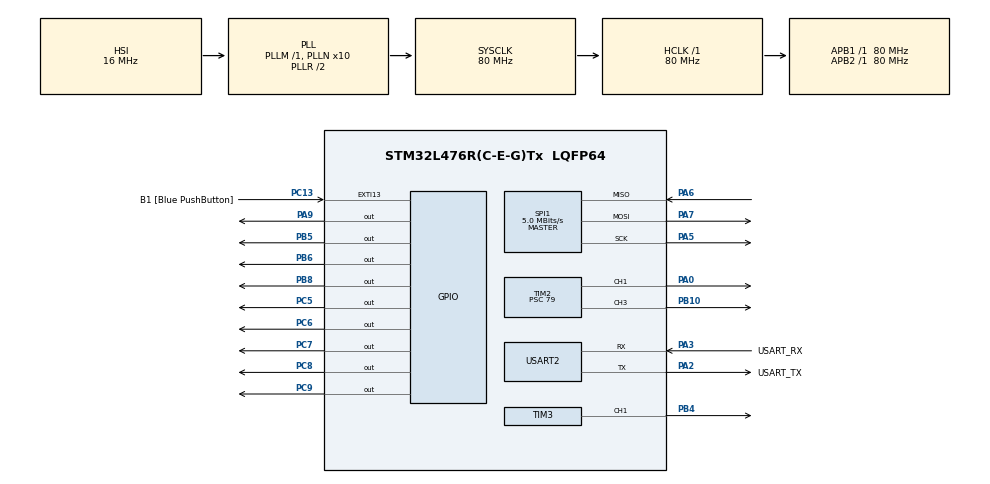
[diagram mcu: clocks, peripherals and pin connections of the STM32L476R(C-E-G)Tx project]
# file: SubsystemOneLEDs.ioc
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Mcu.Family=STM32L4
Mcu.Name=STM32L476R(C-E-G)Tx
Mcu.Package=LQFP64
NVIC.EXTI15_10_IRQn=true\:0\:0\:false\:false\:true\:true\:true\:true
NVIC.PriorityGroup=NVIC_PRIORITYGROUP_4
PA0.Signal=S_TIM2_CH1
PA13\ (JTMS-SWDIO).GPIO_Label=TMS
PA13\ (JTMS-SWDIO).Mode=Serial_Wire
PA13\ (JTMS-SWDIO).Signal=SYS_JTMS-SWDIO
PA14\ (JTCK-SWCLK).GPIO_Label=TCK
PA14\ (JTCK-SWCLK).Mode=Serial_Wire
PA14\ (JTCK-SWCLK).Signal=SYS_JTCK-SWCLK
PA2.GPIO_Label=USART_TX
PA2.GPIO_Mode=GPIO_MODE_AF_PP
PA2.GPIO_PuPd=GPIO_NOPULL
PA2.GPIO_Speed=GPIO_SPEED_FREQ_VERY_HIGH
PA2.Mode=Asynchronous
PA2.Signal=USART2_TX
PA3.GPIO_Label=USART_RX
PA3.GPIO_Mode=GPIO_MODE_AF_PP
PA3.GPIO_PuPd=GPIO_NOPULL
PA3.GPIO_Speed=GPIO_SPEED_FREQ_VERY_HIGH
PA3.Mode=Asynchronous
PA3.Signal=USART2_RX
PA5.Mode=Full_Duplex_Master
PA5.Signal=SPI1_SCK
PA6.Mode=Full_Duplex_Master
PA6.Signal=SPI1_MISO
PA7.Mode=Full_Duplex_Master
PA7.Signal=SPI1_MOSI
PA9.Signal=GPIO_Output
PB10.Signal=S_TIM2_CH3
PB3\ (JTDO-TRACESWO).GPIO_Label=SWO
PB3\ (JTDO-TRACESWO).Signal=SYS_JTDO-SWO
PB4\ (NJTRST).Signal=S_TIM3_CH1
PB5.Signal=GPIO_Output
PB6.Signal=GPIO_Output
PB8.Signal=GPIO_Output
PC13.GPIO_Label=B1 [Blue PushButton]
PC13.GPIO_ModeDefaultEXTI=GPIO_MODE_IT_FALLING
PC13.GPIO_PuPd=GPIO_NOPULL
PC13.Signal=GPXTI13
PC14-OSC32_IN\ (PC14).Mode=LSE-External-Oscillator
PC14-OSC32_IN\ (PC14).Signal=RCC_OSC32_IN
PC15-OSC32_OUT\ (PC15).Mode=LSE-External-Oscillator
PC15-OSC32_OUT\ (PC15).Signal=RCC_OSC32_OUT
PC5.Signal=GPIO_Output
PC6.Signal=GPIO_Output
PC7.Signal=GPIO_Output
PC8.Signal=GPIO_Output
PC9.Signal=GPIO_Output
PH0-OSC_IN\ (PH0).Signal=RCC_OSC_IN
PH1-OSC_OUT\ (PH1).Signal=RCC_OSC_OUT
ProjectManager.HeapSize=0x200
ProjectManager.StackSize=0x400
ProjectManager.TargetToolchain=STM32CubeIDE
RCC.ADCFreq_Value=64000000
RCC.AHBFreq_Value=80000000
RCC.APB1Freq_Value=80000000
RCC.APB1TimFreq_Value=80000000
RCC.APB2Freq_Value=80000000
RCC.APB2TimFreq_Value=80000000
RCC.CortexFreq_Value=80000000
RCC.HCLKFreq_Value=80000000
RCC.HSE_VALUE=8000000
RCC.HSI_VALUE=16000000
RCC.MSI_VALUE=4000000
RCC.PLLN=10
RCC.PLLSourceVirtual=RCC_PLLSOURCE_HSI
RCC.PREFETCH_ENABLE=1
RCC.SYSCLKFreq_VALUE=80000000
RCC.SYSCLKSource=RCC_SYSCLKSOURCE_PLLCLK
RCC.USBFreq_Value=64000000
RCC.VCOOutputFreq_Value=160000000
SH.S_TIM2_CH1.0=TIM2_CH1,PWM Generation1 CH1
SH.S_TIM2_CH3.0=TIM2_CH3,PWM Generation3 CH3
SH.S_TIM3_CH1.0=TIM3_CH1,PWM Generation1 CH1
SPI1.BaudRatePrescaler=SPI_BAUDRATEPRESCALER_16
SPI1.CalculateBaudRate=5.0 MBits/s
SPI1.DataSize=SPI_DATASIZE_8BIT
SPI1.Direction=SPI_DIRECTION_2LINES
SPI1.Mode=SPI_MODE_MASTER
SPI1.VirtualType=VM_MASTER
TIM2.Channel-PWM\ Generation1\ CH1=TIM_CHANNEL_1
TIM2.Channel-PWM\ Generation3\ CH3=TIM_CHANNEL_3
TIM2.Period=19999
TIM2.Prescaler=79
TIM3.Channel-PWM\ Generation1\ CH1=TIM_CHANNEL_1
TIM3.Period=255
TIM3.Prescaler=5
USART2.VirtualMode-Asynchronous=VM_ASYNC
VP_TIM2_VS_ClockSourceINT.Mode=Internal
VP_TIM3_VS_ClockSourceINT.Mode=Internal
board=NUCLEO-L476RG

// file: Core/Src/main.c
/* USER CODE BEGIN Header */
/**
  ******************************************************************************
  * @file           : main.c
  * @brief          : Main body code for 'hand' motion
  ******************************************************************************
  * @attention
  *
  * Copyright (c) 2025 STMicroelectronics.
  * All rights reserved.
  *
  * This software is licensed under terms that can be found in the LICENSE file
  * in the root directory of this software component.
  * If no LICENSE file comes with this software, it is provided AS-IS.
  *
  ******************************************************************************
  */
/* USER CODE END Header */
#include "main.h"

/* USER CODE BEGIN Includes */
#include <stdio.h>
/* USER CODE END Includes */

/* USER CODE BEGIN PTD */
SPI_HandleTypeDef hspi1;
/* USER CODE END PTD */

/* USER CODE BEGIN PD */
#define NRF24_CMD_R_REGISTER 0x00
#define NRF24_CMD_W_REGISTER 0x20

#define CSN_GPIO_Port GPIOB
#define CSN_Pin GPIO_PIN_6

#define CE_GPIO_Port GPIOB
#define CE_Pin GPIO_PIN_8

#define CSN_HIGH() HAL_GPIO_WritePin(CSN_GPIO_Port, CSN_Pin, GPIO_PIN_SET)
#define CSN_LOW()  HAL_GPIO_WritePin(CSN_GPIO_Port, CSN_Pin, GPIO_PIN_RESET)
#define CE_HIGH()  HAL_GPIO_WritePin(CE_GPIO_Port, CE_Pin, GPIO_PIN_SET)
#define CE_LOW()   HAL_GPIO_WritePin(CE_GPIO_Port, CE_Pin, GPIO_PIN_RESET)

/* USER CODE END PD */

SPI_HandleTypeDef hspi1;

TIM_HandleTypeDef htim2;
TIM_HandleTypeDef htim3;

UART_HandleTypeDef huart2;

/* USER CODE BEGIN PV */
int mode = 0; //Receiver Output
int testingMode = 0;
float min1 = .096; //Minimum angle of servo 1
float max1 = .124; //Max angle of servo 1
float min2 = .096; //Minimum angle of servo 2
float max2 = .124; //Max angle of servo 2
int period = 19999; //PWM period for servos
float m1_dc = .035; //Initial position for servo 1
float m2_dc = .035; //Initial position for servo 2
float mod_1 = .0025; //Factor of change for servo 1
float mod_2 = -.0025; //Factor of change for servo 2
int m1_factor = 0; //Multiplicative factor to allow for stopping of motion of servo 1
int m2_factor = 0; //Multiplicative factor to allow for stopping of motion of servo 2
int lastState = 0; //Last receiver value
/* USER CODE END PV */

void SystemClock_Config(void);
static void MX_GPIO_Init(void);
static void MX_USART2_UART_Init(void);
static void MX_SPI1_Init(void);
static void MX_TIM2_Init(void);
static void MX_TIM3_Init(void);
/* USER CODE BEGIN PFP */

//SPI Transmission Helper Function
uint8_t SPI_Transfer(uint8_t data) {
    uint8_t received = 0;
    HAL_SPI_TransmitReceive(&hspi1, &data, &received, 1, HAL_MAX_DELAY);
    char debug_buf[30];
//    sprintf(debug_buf, "SPI Sent: %02X, Got: %02X\n", data, received);
//    HAL_UART_Transmit(&huart2, (uint8_t *)debug_buf, strlen(debug_buf), HAL_MAX_DELAY);
    return received;
}

void nRF24_WriteRegister(uint8_t reg, uint8_t value) {
    CSN_LOW();  // Select the nRF24L01
    SPI_Transfer(0x20 | (reg & 0x1F));  // Write command (0x20 + Register Address)
    SPI_Transfer(value);  // Send data
    CSN_HIGH(); // Deselect
}

void nRF24_WriteRegisterMulti(uint8_t reg, uint8_t *data, uint8_t length) {
    CSN_LOW();  // Select nRF24L01
    SPI_Transfer(0x20 | (reg & 0x1F));  // Write command
    HAL_SPI_Transmit(&hspi1, data, length, HAL_MAX_DELAY);
    CSN_HIGH();  // Deselect
}

uint8_t nRF24_ReadRegister(uint8_t reg) {
    CSN_LOW();  // Select the nRF24L01
    SPI_Transfer(reg & 0x1F);  // Read command (0x00 + Register Address)
    uint8_t value = SPI_Transfer(0xFF);  // Receive data
    CSN_HIGH();  // Deselect
    return value;
}

void nRF24_WritePayload(uint8_t *data, uint8_t length) {
    CSN_LOW();  // Select the nRF24L01
    SPI_Transfer(0xA0);  // Write Payload Command
    HAL_SPI_Transmit(&hspi1, data, length, HAL_MAX_DELAY);
    CSN_HIGH();  // Deselect
}

void nRF24_ReadPayload(uint8_t *data, uint8_t length) {
    CSN_LOW();  // Select nRF24L01
    SPI_Transfer(0x61);  // Read Payload Command
    HAL_SPI_Receive(&hspi1, data, length, HAL_MAX_DELAY);
    CSN_HIGH();  // Deselect
}

void nRF24_SetTXMode() {
	uint8_t tx_addr[5] = { 0xE7, 0xE7, 0xE7, 0xE7, 0xE7 };

    CE_LOW();  // Ensure CE is low
    nRF24_WriteRegister(0x00, 0x0E);  // Set PWR_UP & PRIM_TX (CONFIG register)
    nRF24_WriteRegisterMulti(0x10, tx_addr, 5);  // Set TX address (must match RX)
    HAL_Delay(2);  // Wait for power-up
}

void nRF24_SendData(uint8_t *data, uint8_t length) {
    CE_LOW();
	nRF24_WritePayload(data, length);  // Load payload
    CE_HIGH();  // Start transmission
    HAL_Delay(1);  // Ensure minimum CE pulse width
    CE_LOW();  // Stop transmission
}

//Initialize Transmitter
void nRF24_Init() {
    CE_LOW();  // Disable radio
    CSN_HIGH();  // Deselect SPI

    nRF24_WriteRegister(0x00, 0x0A);  // Set PWR_UP, CRC enabled
    nRF24_WriteRegister(0x01, 0x3F);  // Enable Auto Acknowledgment
    nRF24_WriteRegister(0x02, 0x01);  // Enable only Pipe 0
    nRF24_WriteRegister(0x05, 0x02);  // Set RF Channel (Change as needed)
    nRF24_WriteRegister(0x06, 0x07);  // Set RF Power 0dBm, 1Mbps

    HAL_Delay(2);  // Wait for power-up
}

//Establish Transmitter as Receiver
void nRF24_SetRXMode() {
    uint8_t rx_addr[5] = { 0xE7, 0xE7, 0xE7, 0xE7, 0xE7 };  // Must match TX

    CE_LOW();
    nRF24_WriteRegister(0x00, 0x0F);  // PWR_UP | PRIM_RX
    nRF24_WriteRegister(0x02, 0x01);  // Enable Pipe 0
    nRF24_WriteRegisterMulti(0x0A, rx_addr, 5);  // Set RX address
    nRF24_WriteRegister(0x11, 1);  // Set static payload length
    nRF24_WriteRegister(0x1C, 0x00);  // Disable dynamic payload
    nRF24_WriteRegister(0x1D, 0x00);  // Disable features
    HAL_Delay(2);
    CE_HIGH();  // Enable RX mode
}

uint8_t nRF24_DataAvailable() {
    uint8_t status = nRF24_ReadRegister(0x07);  // Read STATUS register
    if (status & (1 << 6)) {  // RX_DR is set
        nRF24_WriteRegister(0x07, (1 << 6));  // Clear RX_DR flag
        return 1;  // Data available
    }
    return 0;  // No data
}

//Stop motion
void noInput() {
	__HAL_TIM_SET_COMPARE(&htim3, TIM_CHANNEL_1, 0);
	HAL_GPIO_WritePin(GPIOA, GPIO_PIN_9, GPIO_PIN_RESET);
	HAL_GPIO_WritePin(GPIOC, GPIO_PIN_7, GPIO_PIN_RESET);

	m1_dc = .035;
	m2_dc = .035;
	mod_1 = .0025;
	mod_2 = .0025;
	m1_factor = 0;
	m2_factor = 0;
}

//'Wave' Left
void leftInput() {
	__HAL_TIM_SET_COMPARE(&htim3, TIM_CHANNEL_1, 0);
	HAL_GPIO_WritePin(GPIOA, GPIO_PIN_9, GPIO_PIN_RESET);
	HAL_GPIO_WritePin(GPIOC, GPIO_PIN_7, GPIO_PIN_RESET);

	m1_dc = .095;
	m2_dc = .095;
	mod_1 = .0;
	mod_2 = .0025;
	m1_factor = 0;
	m2_factor = 1;
}

//'Wave' Right
void rightInput() {
	__HAL_TIM_SET_COMPARE(&htim3, TIM_CHANNEL_1, 0);
	HAL_GPIO_WritePin(GPIOA, GPIO_PIN_9, GPIO_PIN_RESET);
	HAL_GPIO_WritePin(GPIOC, GPIO_PIN_7, GPIO_PIN_RESET);

	m1_dc = .095;
	m2_dc = .095;
	mod_1 = .0025;
	mod_2 = 0;
	m1_factor = 1;
	m2_factor = 0;
}

//Move Forward
void upInput() {
	__HAL_TIM_SET_COMPARE(&htim3, TIM_CHANNEL_1, 110);
	HAL_GPIO_WritePin(GPIOA, GPIO_PIN_9, GPIO_PIN_RESET);
	HAL_GPIO_WritePin(GPIOC, GPIO_PIN_7, GPIO_PIN_SET);

	m1_dc = .035;
	m2_dc = .095;
	mod_1 = .0025;
	mod_2 = .0025;
	m1_factor = 0;
	m2_factor = 0;
}

//Move Backwards
void downInput() {
	__HAL_TIM_SET_COMPARE(&htim3, TIM_CHANNEL_1, 80);
	HAL_GPIO_WritePin(GPIOA, GPIO_PIN_9, GPIO_PIN_SET);
	HAL_GPIO_WritePin(GPIOC, GPIO_PIN_7, GPIO_PIN_RESET);

	m1_dc = .035;
	m2_dc = .095;
	mod_1 = .0025;
	mod_2 = .0025;
	m1_factor = 0;
	m2_factor = 0;
}

//Receiver main loop
void nRF24_ReceiveData() {
    uint8_t rxData[1];

    if (nRF24_DataAvailable()) {
        nRF24_ReadPayload(rxData, 1);
        nRF24_WriteRegister(0x07, (1 << 6));  // Clear RX_DR

        char uart_buf[50];
        sprintf(uart_buf, "Received: %02X\n\r", rxData[0]);
        HAL_UART_Transmit(&huart2, (uint8_t *)uart_buf, strlen(uart_buf), HAL_MAX_DELAY); //Print received value to serial monitor

        if (rxData[0] != lastState) { //Don't call the same case multiple times in a row or no motion would occur
        	switch(rxData[0]) {
				case 0:
					noInput();
					break;
				case 1:
					leftInput();
					break;
				case 2:
					rightInput();
					break;
				case 3:
					upInput();
					break;
				case 4:
					downInput();
					break;
			}
        	lastState = rxData[0]; //Set last state
        }

    }
}
/* USER CODE END PFP */

/* USER CODE BEGIN 0 */
//Blue button callback to allow for motor testing without using transmitter
void HAL_GPIO_EXTI_Callback(uint16_t GPIO_Pin) {
	testingMode++;
	testingMode = testingMode % 2;

	if (testingMode == 0){
		noInput();
	} else {
		upInput();
	}
}
/* USER CODE END 0 */

int main(void)
{

  /* MCU Configuration--------------------------------------------------------*/

  /* Reset of all peripherals, Initializes the Flash interface and the Systick. */
  HAL_Init();

  /* Configure the system clock */
  SystemClock_Config();

  /* Initialize all configured peripherals */
  MX_GPIO_Init();
  MX_USART2_UART_Init();
  MX_SPI1_Init();
  MX_TIM2_Init();
  MX_TIM3_Init();
  /* USER CODE BEGIN 2 */
  HAL_TIM_PWM_Start(&htim2, TIM_CHANNEL_1);
  HAL_TIM_PWM_Start(&htim2, TIM_CHANNEL_3);
  HAL_TIM_PWM_Start(&htim3, TIM_CHANNEL_1);
  /* USER CODE END 2 */

  /* Infinite loop */
  /* USER CODE BEGIN WHILE */
  nRF24_Init();  // Initialize nRF24L01
  nRF24_SetRXMode();  // Set RX Mode

  //Turn DC motor on, set to locked state
  HAL_GPIO_WritePin(GPIOB, GPIO_PIN_5, GPIO_PIN_SET);
  __HAL_TIM_SET_COMPARE(&htim3, TIM_CHANNEL_1, 110);
  HAL_GPIO_WritePin(GPIOA, GPIO_PIN_9, GPIO_PIN_RESET);
  HAL_GPIO_WritePin(GPIOC, GPIO_PIN_7, GPIO_PIN_RESET);

  while (1)
  {
	  HAL_Delay(50);

	  //Set new values for servos based on duty cycle and PWM period
	  float pulse_1 = m1_dc * period;
	  float pulse_2 = m2_dc * period;
	  __HAL_TIM_SET_COMPARE(&htim2, TIM_CHANNEL_1, (int)pulse_1);
	  __HAL_TIM_SET_COMPARE(&htim2, TIM_CHANNEL_3, (int)pulse_2);

	  //Check if servo 1 has reached an endpoint
	  if (m1_dc >= max1) {
		  mod_1 = -0.0025;
	  }
	  if (m1_dc <= min1) {
		  mod_1 = 0.0025;
	  }

	  //Check if servo 2 has reached an endpoint
	  if (m2_dc >= max2) {
		  mod_2 = -0.0025;
	  }
	  if (m2_dc <= min2) {
		  mod_2 = 0.0025;
	  }

	  //Increment servo duty cycle for motion
	  m1_dc += mod_1 * m1_factor;
	  m2_dc += mod_2 * m2_factor;

	  nRF24_ReceiveData();  // Continuously check for incoming data

    /* USER CODE END WHILE */

  }
}

void SystemClock_Config(void)
{
  RCC_OscInitTypeDef RCC_OscInitStruct = {0};
  RCC_ClkInitTypeDef RCC_ClkInitStruct = {0};

  /** Configure the main internal regulator output voltage
  */
  if (HAL_PWREx_ControlVoltageScaling(PWR_REGULATOR_VOLTAGE_SCALE1) != HAL_OK)
  {
    Error_Handler();
  }

  /** Initializes the RCC Oscillators according to the specified parameters
  * in the RCC_OscInitTypeDef structure.
  */
  RCC_OscInitStruct.OscillatorType = RCC_OSCILLATORTYPE_HSI;
  RCC_OscInitStruct.HSIState = RCC_HSI_ON;
  RCC_OscInitStruct.HSICalibrationValue = RCC_HSICALIBRATION_DEFAULT;
  RCC_OscInitStruct.PLL.PLLState = RCC_PLL_ON;
  RCC_OscInitStruct.PLL.PLLSource = RCC_PLLSOURCE_HSI;
  RCC_OscInitStruct.PLL.PLLM = 1;
  RCC_OscInitStruct.PLL.PLLN = 10;
  RCC_OscInitStruct.PLL.PLLP = RCC_PLLP_DIV7;
  RCC_OscInitStruct.PLL.PLLQ = RCC_PLLQ_DIV2;
  RCC_OscInitStruct.PLL.PLLR = RCC_PLLR_DIV2;
  if (HAL_RCC_OscConfig(&RCC_OscInitStruct) != HAL_OK)
  {
    Error_Handler();
  }

  /** Initializes the CPU, AHB and APB buses clocks
  */
  RCC_ClkInitStruct.ClockType = RCC_CLOCKTYPE_HCLK|RCC_CLOCKTYPE_SYSCLK
                              |RCC_CLOCKTYPE_PCLK1|RCC_CLOCKTYPE_PCLK2;
  RCC_ClkInitStruct.SYSCLKSource = RCC_SYSCLKSOURCE_PLLCLK;
  RCC_ClkInitStruct.AHBCLKDivider = RCC_SYSCLK_DIV1;
  RCC_ClkInitStruct.APB1CLKDivider = RCC_HCLK_DIV1;
  RCC_ClkInitStruct.APB2CLKDivider = RCC_HCLK_DIV1;

  if (HAL_RCC_ClockConfig(&RCC_ClkInitStruct, FLASH_LATENCY_4) != HAL_OK)
  {
    Error_Handler();
  }
}

static void MX_SPI1_Init(void)
{

  /* SPI1 parameter configuration*/
  hspi1.Instance = SPI1;
  hspi1.Init.Mode = SPI_MODE_MASTER;
  hspi1.Init.Direction = SPI_DIRECTION_2LINES;
  hspi1.Init.DataSize = SPI_DATASIZE_8BIT;
  hspi1.Init.CLKPolarity = SPI_POLARITY_LOW;
  hspi1.Init.CLKPhase = SPI_PHASE_1EDGE;
  hspi1.Init.NSS = SPI_NSS_SOFT;
  hspi1.Init.BaudRatePrescaler = SPI_BAUDRATEPRESCALER_16;
  hspi1.Init.FirstBit = SPI_FIRSTBIT_MSB;
  hspi1.Init.TIMode = SPI_TIMODE_DISABLE;
  hspi1.Init.CRCCalculation = SPI_CRCCALCULATION_DISABLE;
  hspi1.Init.CRCPolynomial = 7;
  hspi1.Init.CRCLength = SPI_CRC_LENGTH_DATASIZE;
  hspi1.Init.NSSPMode = SPI_NSS_PULSE_ENABLE;
  if (HAL_SPI_Init(&hspi1) != HAL_OK)
  {
    Error_Handler();
  }

}

static void MX_TIM2_Init(void)
{

  TIM_ClockConfigTypeDef sClockSourceConfig = {0};
  TIM_MasterConfigTypeDef sMasterConfig = {0};
  TIM_OC_InitTypeDef sConfigOC = {0};

  htim2.Instance = TIM2;
  htim2.Init.Prescaler = 79;
  htim2.Init.CounterMode = TIM_COUNTERMODE_UP;
  htim2.Init.Period = 19999;
  htim2.Init.ClockDivision = TIM_CLOCKDIVISION_DIV1;
  htim2.Init.AutoReloadPreload = TIM_AUTORELOAD_PRELOAD_DISABLE;
  if (HAL_TIM_Base_Init(&htim2) != HAL_OK)
  {
    Error_Handler();
  }
  sClockSourceConfig.ClockSource = TIM_CLOCKSOURCE_INTERNAL;
  if (HAL_TIM_ConfigClockSource(&htim2, &sClockSourceConfig) != HAL_OK)
  {
    Error_Handler();
  }
  if (HAL_TIM_PWM_Init(&htim2) != HAL_OK)
  {
    Error_Handler();
  }
  sMasterConfig.MasterOutputTrigger = TIM_TRGO_RESET;
  sMasterConfig.MasterSlaveMode = TIM_MASTERSLAVEMODE_DISABLE;
  if (HAL_TIMEx_MasterConfigSynchronization(&htim2, &sMasterConfig) != HAL_OK)
  {
    Error_Handler();
  }
  sConfigOC.OCMode = TIM_OCMODE_PWM1;
  sConfigOC.Pulse = 0;
  sConfigOC.OCPolarity = TIM_OCPOLARITY_HIGH;
  sConfigOC.OCFastMode = TIM_OCFAST_DISABLE;
  if (HAL_TIM_PWM_ConfigChannel(&htim2, &sConfigOC, TIM_CHANNEL_1) != HAL_OK)
  {
    Error_Handler();
  }
  if (HAL_TIM_PWM_ConfigChannel(&htim2, &sConfigOC, TIM_CHANNEL_3) != HAL_OK)
  {
    Error_Handler();
  }
  HAL_TIM_MspPostInit(&htim2);

}

static void MX_TIM3_Init(void)
{

  TIM_ClockConfigTypeDef sClockSourceConfig = {0};
  TIM_MasterConfigTypeDef sMasterConfig = {0};
  TIM_OC_InitTypeDef sConfigOC = {0};

  htim3.Instance = TIM3;
  htim3.Init.Prescaler = 5;
  htim3.Init.CounterMode = TIM_COUNTERMODE_UP;
  htim3.Init.Period = 255;
  htim3.Init.ClockDivision = TIM_CLOCKDIVISION_DIV1;
  htim3.Init.AutoReloadPreload = TIM_AUTORELOAD_PRELOAD_DISABLE;
  if (HAL_TIM_Base_Init(&htim3) != HAL_OK)
  {
    Error_Handler();
  }
  sClockSourceConfig.ClockSource = TIM_CLOCKSOURCE_INTERNAL;
  if (HAL_TIM_ConfigClockSource(&htim3, &sClockSourceConfig) != HAL_OK)
  {
    Error_Handler();
  }
  if (HAL_TIM_PWM_Init(&htim3) != HAL_OK)
  {
    Error_Handler();
  }
  sMasterConfig.MasterOutputTrigger = TIM_TRGO_RESET;
  sMasterConfig.MasterSlaveMode = TIM_MASTERSLAVEMODE_DISABLE;
  if (HAL_TIMEx_MasterConfigSynchronization(&htim3, &sMasterConfig) != HAL_OK)
  {
    Error_Handler();
  }
  sConfigOC.OCMode = TIM_OCMODE_PWM1;
  sConfigOC.Pulse = 0;
  sConfigOC.OCPolarity = TIM_OCPOLARITY_HIGH;
  sConfigOC.OCFastMode = TIM_OCFAST_DISABLE;
  if (HAL_TIM_PWM_ConfigChannel(&htim3, &sConfigOC, TIM_CHANNEL_1) != HAL_OK)
  {
    Error_Handler();
  }
  HAL_TIM_MspPostInit(&htim3);

}

static void MX_USART2_UART_Init(void)
{

  huart2.Instance = USART2;
  huart2.Init.BaudRate = 115200;
  huart2.Init.WordLength = UART_WORDLENGTH_8B;
  huart2.Init.StopBits = UART_STOPBITS_1;
  huart2.Init.Parity = UART_PARITY_NONE;
  huart2.Init.Mode = UART_MODE_TX_RX;
  huart2.Init.HwFlowCtl = UART_HWCONTROL_NONE;
  huart2.Init.OverSampling = UART_OVERSAMPLING_16;
  huart2.Init.OneBitSampling = UART_ONE_BIT_SAMPLE_DISABLE;
  huart2.AdvancedInit.AdvFeatureInit = UART_ADVFEATURE_NO_INIT;
  if (HAL_UART_Init(&huart2) != HAL_OK)
  {
    Error_Handler();
  }

}

static void MX_GPIO_Init(void)
{
  GPIO_InitTypeDef GPIO_InitStruct = {0};

  /* GPIO Ports Clock Enable */
  __HAL_RCC_GPIOC_CLK_ENABLE();
  __HAL_RCC_GPIOH_CLK_ENABLE();
  __HAL_RCC_GPIOA_CLK_ENABLE();
  __HAL_RCC_GPIOB_CLK_ENABLE();

  /*Configure GPIO pin Output Level */
  HAL_GPIO_WritePin(GPIOC, GPIO_PIN_5|GPIO_PIN_6|GPIO_PIN_7|GPIO_PIN_8
                          |GPIO_PIN_9, GPIO_PIN_RESET);

  /*Configure GPIO pin Output Level */
  HAL_GPIO_WritePin(GPIOA, GPIO_PIN_9, GPIO_PIN_RESET);

  /*Configure GPIO pin Output Level */
  HAL_GPIO_WritePin(GPIOB, GPIO_PIN_5|GPIO_PIN_6|GPIO_PIN_8, GPIO_PIN_RESET);

  /*Configure GPIO pin : B1_Pin */
  GPIO_InitStruct.Pin = B1_Pin;
  GPIO_InitStruct.Mode = GPIO_MODE_IT_FALLING;
  GPIO_InitStruct.Pull = GPIO_NOPULL;
  HAL_GPIO_Init(B1_GPIO_Port, &GPIO_InitStruct);

  /*Configure GPIO pins : PC5 PC6 PC7 PC8
                           PC9 */
  GPIO_InitStruct.Pin = GPIO_PIN_5|GPIO_PIN_6|GPIO_PIN_7|GPIO_PIN_8
                          |GPIO_PIN_9;
  GPIO_InitStruct.Mode = GPIO_MODE_OUTPUT_PP;
  GPIO_InitStruct.Pull = GPIO_NOPULL;
  GPIO_InitStruct.Speed = GPIO_SPEED_FREQ_LOW;
  HAL_GPIO_Init(GPIOC, &GPIO_InitStruct);

  /*Configure GPIO pin : PA9 */
  GPIO_InitStruct.Pin = GPIO_PIN_9;
  GPIO_InitStruct.Mode = GPIO_MODE_OUTPUT_PP;
  GPIO_InitStruct.Pull = GPIO_NOPULL;
  GPIO_InitStruct.Speed = GPIO_SPEED_FREQ_LOW;
  HAL_GPIO_Init(GPIOA, &GPIO_InitStruct);

  /*Configure GPIO pins : PB5 PB6 PB8 */
  GPIO_InitStruct.Pin = GPIO_PIN_5|GPIO_PIN_6|GPIO_PIN_8;
  GPIO_InitStruct.Mode = GPIO_MODE_OUTPUT_PP;
  GPIO_InitStruct.Pull = GPIO_NOPULL;
  GPIO_InitStruct.Speed = GPIO_SPEED_FREQ_LOW;
  HAL_GPIO_Init(GPIOB, &GPIO_InitStruct);

  /* EXTI interrupt init*/
  HAL_NVIC_SetPriority(EXTI15_10_IRQn, 0, 0);
  HAL_NVIC_EnableIRQ(EXTI15_10_IRQn);

}

void Error_Handler(void)
{
  __disable_irq();
  while (1)
  {
  }
}
